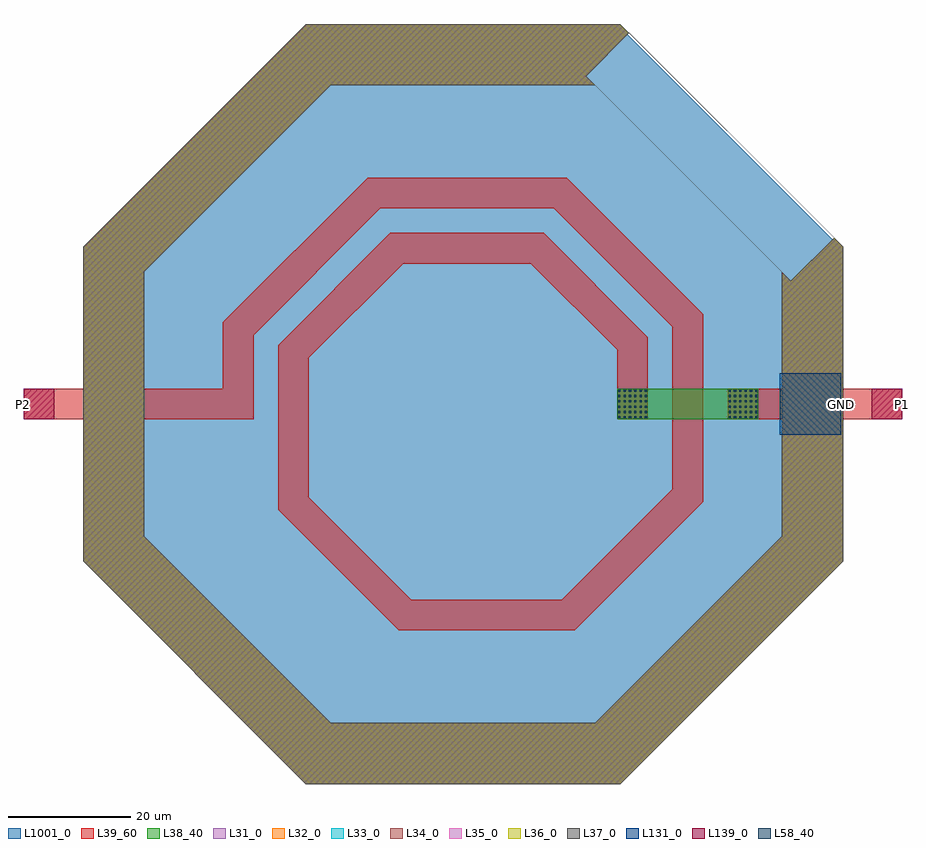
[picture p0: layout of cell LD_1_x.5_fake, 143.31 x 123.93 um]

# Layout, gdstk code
import gdstk
lib = gdstk.Library(unit=1e-6, precision=1e-09)
def R(c, l, rs):  # rectangles x0, y0, x1, y1
    for r in rs: c.add(gdstk.rectangle(r[:2], r[2:], *l))
def A(c, l, x, y, w, h, nx, ny, dx, dy):  # array of equal rectangles
    R(c, l, [(x+i*dx, y+j*dy, x+i*dx+w, y+j*dy+h) for i in range(nx) for j in range(ny)])
def P(c, l, *ps):  # polygons
    for p in ps: c.add(gdstk.Polygon(p, *l))
L31_0 = (31, 0)
L32_0 = (32, 0)
L33_0 = (33, 0)
L34_0 = (34, 0)
L35_0 = (35, 0)
L36_0 = (36, 0)
L37_0 = (37, 0)
L38_40 = (38, 40)
L39_60 = (39, 60)
L58_40 = (58, 40)
L131_0 = (131, 0)
L139_0 = (139, 0)
L1001_0 = (1001, 0)

ld_1_x_5_fake = lib.new_cell('LD_1_x.5_fake')
P(ld_1_x_5_fake, L31_0, [(53.428,20.059),(60.499,27.131),(25.666,61.963),(-25.666,61.963),(-61.963,25.666),(-61.963,-25.666),(-25.666,-61.963),(25.666,-61.963),(61.963,-25.666),(61.963,25.666),(27.131,60.499),(20.059,53.428),(51.963,21.524),(51.963,-21.524),(21.524,-51.963),(-21.524,-51.963),(-51.963,-21.524),(-51.963,21.524),(-21.524,51.963),(21.524,51.963)])
P(ld_1_x_5_fake, L32_0, [(53.428,20.059),(60.499,27.131),(25.666,61.963),(-25.666,61.963),(-61.963,25.666),(-61.963,-25.666),(-25.666,-61.963),(25.666,-61.963),(61.963,-25.666),(61.963,25.666),(27.131,60.499),(20.059,53.428),(51.963,21.524),(51.963,-21.524),(21.524,-51.963),(-21.524,-51.963),(-51.963,-21.524),(-51.963,21.524),(-21.524,51.963),(21.524,51.963)])
P(ld_1_x_5_fake, L33_0, [(53.428,20.059),(60.499,27.131),(25.666,61.963),(-25.666,61.963),(-61.963,25.666),(-61.963,-25.666),(-25.666,-61.963),(25.666,-61.963),(61.963,-25.666),(61.963,25.666),(27.131,60.499),(20.059,53.428),(51.963,21.524),(51.963,-21.524),(21.524,-51.963),(-21.524,-51.963),(-51.963,-21.524),(-51.963,21.524),(-21.524,51.963),(21.524,51.963)])
P(ld_1_x_5_fake, L34_0, [(53.428,20.059),(60.499,27.131),(25.666,61.963),(-25.666,61.963),(-61.963,25.666),(-61.963,-25.666),(-25.666,-61.963),(25.666,-61.963),(61.963,-25.666),(61.963,25.666),(27.131,60.499),(20.059,53.428),(51.963,21.524),(51.963,-21.524),(21.524,-51.963),(-21.524,-51.963),(-51.963,-21.524),(-51.963,21.524),(-21.524,51.963),(21.524,51.963)])
P(ld_1_x_5_fake, L35_0, [(53.428,20.059),(60.499,27.131),(25.666,61.963),(-25.666,61.963),(-61.963,25.666),(-61.963,-25.666),(-25.666,-61.963),(25.666,-61.963),(61.963,-25.666),(61.963,25.666),(27.131,60.499),(20.059,53.428),(51.963,21.524),(51.963,-21.524),(21.524,-51.963),(-21.524,-51.963),(-51.963,-21.524),(-51.963,21.524),(-21.524,51.963),(21.524,51.963)])
P(ld_1_x_5_fake, L36_0, [(53.428,20.059),(60.499,27.131),(25.666,61.963),(-25.666,61.963),(-61.963,25.666),(-61.963,-25.666),(-25.666,-61.963),(25.666,-61.963),(61.963,-25.666),(61.963,25.666),(27.131,60.499),(20.059,53.428),(51.963,21.524),(51.963,-21.524),(21.524,-51.963),(-21.524,-51.963),(-51.963,-21.524),(-51.963,21.524),(-21.524,51.963),(21.524,51.963)])
P(ld_1_x_5_fake, L37_0, [(53.428,20.059),(60.499,27.131),(25.666,61.963),(-25.666,61.963),(-61.963,25.666),(-61.963,-25.666),(-25.666,-61.963),(25.666,-61.963),(61.963,-25.666),(61.963,25.666),(27.131,60.499),(20.059,53.428),(51.963,21.524),(51.963,-21.524),(21.524,-51.963),(-21.524,-51.963),(-51.963,-21.524),(-51.963,21.524),(-21.524,51.963),(21.524,51.963)])
R(ld_1_x_5_fake, L38_40, [(25.155,-2.5,48.155,2.5)])
P(ld_1_x_5_fake, L38_40, [(53.428,20.059),(60.499,27.131),(25.666,61.963),(-25.666,61.963),(-61.963,25.666),(-61.963,-25.666),(-25.666,-61.963),(25.666,-61.963),(61.963,-25.666),(61.963,25.666),(27.131,60.499),(20.059,53.428),(51.963,21.524),(51.963,-21.524),(21.524,-51.963),(-21.524,-51.963),(-51.963,-21.524),(-51.963,21.524),(-21.524,51.963),(21.524,51.963)])
R(ld_1_x_5_fake, L39_60, [(-71.655,-2.5,-34.155,2.5), (43.155,-2.5,71.655,2.5)])
P(ld_1_x_5_fake, L39_60, [(25.155,-2.5),(30.155,-2.5),(30.155,10.901),(13.151,27.905),(-11.831,27.905),(-30.155,9.581),(-30.155,-17.266),(-10.516,-36.905),(18.196,-36.905),(39.155,-15.946),(39.155,14.631),(16.881,36.905),(-15.561,36.905),(-39.155,13.311),(-39.155,0),(-34.155,0),(-34.155,11.239),(-13.489,31.905),(14.809,31.905),(34.155,12.559),(34.155,-13.874),(16.124,-31.905),(-8.444,-31.905),(-25.155,-15.194),(-25.155,7.509),(-9.759,22.905),(11.079,22.905),(25.155,8.829)],
  [(53.428,20.059),(60.499,27.131),(25.666,61.963),(-25.666,61.963),(-61.963,25.666),(-61.963,-25.666),(-25.666,-61.963),(25.666,-61.963),(61.963,-25.666),(61.963,25.666),(27.131,60.499),(20.059,53.428),(51.963,21.524),(51.963,-21.524),(21.524,-51.963),(-21.524,-51.963),(-51.963,-21.524),(-51.963,21.524),(-21.524,51.963),(21.524,51.963)])
A(ld_1_x_5_fake, L58_40, 25.307, -2.35, 0.35, 0.35, 6, 6, 0.87, 0.87)
A(ld_1_x_5_fake, L58_40, 43.307, -2.35, 0.35, 0.35, 6, 6, 0.87, 0.87)
R(ld_1_x_5_fake, L131_0, [(51.655,-5,61.655,5)])
R(ld_1_x_5_fake, L139_0, [(-71.655,-2.5,-66.655,2.5), (66.655,-2.5,71.655,2.5)])
P(ld_1_x_5_fake, L1001_0, [(61.583,25.508),(25.508,61.583),(-25.508,61.583),(-61.583,25.508),(-61.583,-25.508),(-25.508,-61.583),(25.508,-61.583),(61.583,-25.508)],
  [(61.583,25.508),(25.508,61.583),(-25.508,61.583),(-61.583,25.508),(-61.583,-25.508),(-25.508,-61.583),(25.508,-61.583),(61.583,-25.508)],
  [(61.583,25.508),(25.508,61.583),(-25.508,61.583),(-61.583,25.508),(-61.583,-25.508),(-25.508,-61.583),(25.508,-61.583),(61.583,-25.508)],
  [(61.583,25.508),(25.508,61.583),(-25.508,61.583),(-61.583,25.508),(-61.583,-25.508),(-25.508,-61.583),(25.508,-61.583),(61.583,-25.508)],
  [(61.583,25.508),(25.508,61.583),(-25.508,61.583),(-61.583,25.508),(-61.583,-25.508),(-25.508,-61.583),(25.508,-61.583),(61.583,-25.508)],
  [(61.583,25.508),(25.508,61.583),(-25.508,61.583),(-61.583,25.508),(-61.583,-25.508),(-25.508,-61.583),(25.508,-61.583),(61.583,-25.508)],
  [(61.583,25.508),(25.508,61.583),(-25.508,61.583),(-61.583,25.508),(-61.583,-25.508),(-25.508,-61.583),(25.508,-61.583),(61.583,-25.508)],
  [(61.583,25.508),(25.508,61.583),(-25.508,61.583),(-61.583,25.508),(-61.583,-25.508),(-25.508,-61.583),(25.508,-61.583),(61.583,-25.508)],
  [(61.583,25.508),(25.508,61.583),(-25.508,61.583),(-61.583,25.508),(-61.583,-25.508),(-25.508,-61.583),(25.508,-61.583),(61.583,-25.508)])
ld_1_x_5_fake.add(gdstk.Label('P1', (71.657,0), layer=139, texttype=0))
ld_1_x_5_fake.add(gdstk.Label('P2', (-71.657,0), layer=139, texttype=0))
ld_1_x_5_fake.add(gdstk.Label('GND', (61.657,0), layer=131, texttype=0))

lib.write_gds('LD_1_x.5_fake.gds')
